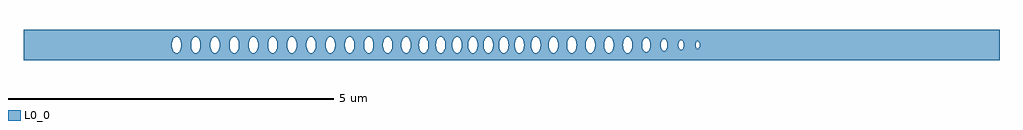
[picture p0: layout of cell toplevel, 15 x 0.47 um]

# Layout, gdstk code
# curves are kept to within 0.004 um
import gdstk
lib = gdstk.Library(unit=1e-6, precision=1e-09)
def P(c, l, *ps):  # polygons
    for p in ps: c.add(gdstk.Polygon(p, *l))
L0_0 = (0, 0)

toplevel = lib.new_cell('toplevel')
P(toplevel, L0_0, [(-4.629,0.016),(-4.616,0.075),(-4.596,0.108),(-4.579,0.121),(-4.579,0.234),(-7.5,0.234),(-7.5,-0.008),(-5.221,-0.008),(-5.216,0.047),(-5.198,0.093),(-5.175,0.119),(-5.148,0.128),(-5.114,0.112),(-5.09,0.075),(-5.078,0.032),(-5.077,-0.016),(-4.925,-0.016),(-4.922,0.039),(-4.909,0.081),(-4.888,0.112),(-4.853,0.128),(-4.826,0.119),(-4.803,0.093),(-4.785,0.047),(-4.78,0),(-4.785,-0.047),(-4.803,-0.093),(-4.826,-0.119),(-4.853,-0.128),(-4.879,-0.119),(-4.899,-0.098),(-4.914,-0.068),(-4.925,-0.016),(-5.077,-0.016),(-5.087,-0.068),(-5.102,-0.098),(-5.122,-0.119),(-5.148,-0.128),(-5.175,-0.119),(-5.195,-0.098),(-5.21,-0.068),(-5.221,-0.008),(-7.5,-0.008),(-7.5,-0.234),(-4.579,-0.234),(-4.579,-0.121),(-4.596,-0.108),(-4.616,-0.075),(-4.626,-0.039)],
  [(-1.017,-0.024),(-1.027,-0.068),(-1.05,-0.108),(-1.05,-0.234),(-0.402,-0.234),(-0.402,-0.098),(-0.417,-0.068),(-0.428,-0.016),(-0.425,0.039),(-0.402,0.098),(-0.402,0.234),(-1.05,0.234),(-1.05,0.108),(-1.027,0.068),(-1.016,-0.008),(-0.91,-0.008),(-0.905,0.047),(-0.887,0.093),(-0.864,0.119),(-0.837,0.128),(-0.811,0.119),(-0.788,0.093),(-0.768,0.039),(-0.765,-0.008),(-0.667,-0.008),(-0.662,0.047),(-0.637,0.103),(-0.608,0.125),(-0.594,0.128),(-0.568,0.119),(-0.548,0.098),(-0.533,0.068),(-0.524,0.032),(-0.522,-0.016),(-0.533,-0.068),(-0.545,-0.093),(-0.576,-0.123),(-0.608,-0.125),(-0.637,-0.103),(-0.658,-0.061),(-0.667,-0.008),(-0.765,-0.008),(-0.77,-0.047),(-0.788,-0.093),(-0.811,-0.119),(-0.837,-0.128),(-0.864,-0.119),(-0.887,-0.093),(-0.905,-0.047),(-0.91,-0.008),(-1.016,-0.008)],
  [(2.298,0.04),(2.314,0.076),(2.332,0.091),(2.348,0.094),(2.367,0.085),(2.385,0.06),(2.396,0.018),(2.396,-0.01),(2.565,-0.01),(2.566,0.019),(2.576,0.053),(2.589,0.07),(2.609,0.077),(2.625,0.07),(2.641,0.045),(2.648,-0.004),(2.829,-0.004),(2.839,0.044),(2.849,0.056),(2.865,0.06),(2.883,0.044),(2.893,0),(2.883,-0.044),(2.865,-0.06),(2.842,-0.049),(2.829,-0.004),(2.648,-0.004),(2.637,-0.053),(2.625,-0.07),(2.609,-0.077),(2.589,-0.07),(2.576,-0.053),(2.565,-0.01),(2.396,-0.01),(2.383,-0.064),(2.367,-0.085),(2.348,-0.094),(2.332,-0.091),(2.314,-0.076),(2.296,-0.035),(2.296,-0.234),(7.5,-0.234),(7.5,0.234),(2.296,0.234)],
  [(-4.487,-0.032),(-4.501,-0.081),(-4.522,-0.112),(-4.557,-0.128),(-4.579,-0.121),(-4.579,-0.234),(-4.235,-0.234),(-4.235,-0.119),(-4.261,-0.128),(-4.288,-0.119),(-4.3,-0.108),(-4.323,-0.068),(-4.334,-0.008),(-4.329,0.047),(-4.308,0.098),(-4.275,0.125),(-4.261,0.128),(-4.235,0.119),(-4.235,0.234),(-4.579,0.234),(-4.579,0.121),(-4.557,0.128),(-4.53,0.119),(-4.504,0.087),(-4.488,0.039)],
  [(-3.902,-0.061),(-3.916,-0.093),(-3.939,-0.119),(-3.966,-0.128),(-3.979,-0.125),(-4.001,-0.112),(-4.019,-0.087),(-4.038,-0.016),(-4.036,0.032),(-4.027,0.068),(-4.012,0.098),(-3.992,0.119),(-3.966,0.128),(-3.939,0.119),(-3.916,0.093),(-3.902,0.061),(-3.902,0.234),(-4.235,0.234),(-4.235,0.119),(-4.215,0.098),(-4.2,0.068),(-4.189,0.008),(-4.2,-0.068),(-4.215,-0.098),(-4.235,-0.119),(-4.235,-0.234),(-3.902,-0.234)],
  [(-3.902,0.234),(-3.902,0.06),(-3.894,-0.016),(-3.742,-0.016),(-3.74,0.032),(-3.729,0.075),(-3.705,0.112),(-3.67,0.128),(-3.643,0.119),(-3.624,0.098),(-3.609,0.068),(-3.598,0.016),(-3.601,-0.039),(-3.614,-0.081),(-3.643,-0.119),(-3.67,-0.128),(-3.697,-0.119),(-3.72,-0.093),(-3.734,-0.061),(-3.742,-0.016),(-3.894,-0.016),(-3.902,-0.061),(-3.902,-0.234),(-3.447,-0.234),(-3.447,0.234)],
  [(-3.446,0.024),(-3.436,0.068),(-3.421,0.098),(-3.401,0.119),(-3.374,0.128),(-3.348,0.119),(-3.325,0.093),(-3.307,0.047),(-3.302,-0.008),(-3.307,-0.047),(-3.325,-0.093),(-3.348,-0.119),(-3.374,-0.128),(-3.401,-0.119),(-3.421,-0.098),(-3.436,-0.068),(-3.447,-0.008),(-3.447,-0.234),(-3.125,-0.234),(-3.125,-0.098),(-3.14,-0.068),(-3.151,-0.016),(-3.148,0.039),(-3.125,0.098),(-3.125,0.234),(-3.447,0.234)],
  [(-3.01,-0.039),(-3.029,-0.093),(-3.052,-0.119),(-3.079,-0.128),(-3.092,-0.125),(-3.125,-0.098),(-3.125,-0.234),(-2.792,-0.234),(-2.792,-0.126),(-2.81,-0.119),(-2.833,-0.093),(-2.847,-0.061),(-2.855,-0.016),(-2.853,0.032),(-2.842,0.075),(-2.822,0.108),(-2.792,0.126),(-2.792,0.234),(-3.125,0.234),(-3.125,0.098),(-3.105,0.119),(-3.079,0.128),(-3.052,0.119),(-3.04,0.108),(-3.011,0.047),(-3.006,0.008)],
  [(-2.783,0.128),(-2.756,0.119),(-2.73,0.087),(-2.714,0.039),(-2.711,-0.016),(-2.724,-0.075),(-2.744,-0.108),(-2.77,-0.125),(-2.792,-0.126),(-2.792,-0.234),(-2.449,-0.234),(-2.449,-0.108),(-2.461,-0.119),(-2.487,-0.128),(-2.522,-0.112),(-2.549,-0.068),(-2.56,-0.008),(-2.549,0.068),(-2.526,0.108),(-2.514,0.119),(-2.487,0.128),(-2.461,0.119),(-2.449,0.108),(-2.449,0.234),(-2.792,0.234),(-2.792,0.126)],
  [(-1.976,0),(-1.975,0.234),(-2.449,0.234),(-2.449,0.108),(-2.42,0.047),(-2.416,-0.016),(-2.265,-0.016),(-2.263,0.032),(-2.252,0.075),(-2.228,0.112),(-2.193,0.128),(-2.166,0.119),(-2.143,0.093),(-2.127,0.054),(-2.121,0.016),(-2.123,-0.032),(-2.134,-0.075),(-2.158,-0.112),(-2.193,-0.128),(-2.22,-0.119),(-2.243,-0.093),(-2.265,-0.016),(-2.416,-0.016),(-2.426,-0.068),(-2.449,-0.108),(-2.449,-0.234),(-1.975,-0.234)],
  [(-1.972,0.039),(-1.962,0.075),(-1.942,0.108),(-1.917,0.125),(-1.89,0.125),(-1.864,0.108),(-1.847,0.081),(-1.834,0.039),(-1.831,-0.016),(-1.842,-0.068),(-1.857,-0.098),(-1.876,-0.119),(-1.903,-0.128),(-1.93,-0.119),(-1.953,-0.093),(-1.967,-0.061),(-1.975,-0.016),(-1.975,-0.234),(-1.68,-0.234),(-1.68,-0.075),(-1.694,-0.008),(-1.689,0.047),(-1.68,0.074),(-1.68,0.234),(-1.975,0.234)],
  [(-1.551,-0.032),(-1.568,-0.087),(-1.586,-0.112),(-1.608,-0.125),(-1.621,-0.128),(-1.648,-0.119),(-1.68,-0.075),(-1.68,-0.234),(-1.367,-0.234),(-1.367,-0.123),(-1.388,-0.108),(-1.408,-0.075),(-1.422,-0.008),(-1.411,0.068),(-1.396,0.098),(-1.367,0.123),(-1.367,0.234),(-1.68,0.234),(-1.68,0.075),(-1.66,0.108),(-1.635,0.125),(-1.608,0.125),(-1.586,0.112),(-1.565,0.081),(-1.552,0.039)],
  [(-1.359,0.126),(-1.331,0.123),(-1.303,0.098),(-1.282,0.047),(-1.277,-0.008),(-1.288,-0.068),(-1.303,-0.098),(-1.336,-0.125),(-1.367,-0.123),(-1.367,-0.234),(-1.05,-0.234),(-1.05,-0.108),(-1.062,-0.119),(-1.088,-0.128),(-1.123,-0.112),(-1.15,-0.068),(-1.161,-0.008),(-1.15,0.068),(-1.127,0.108),(-1.115,0.119),(-1.088,0.128),(-1.062,0.119),(-1.05,0.108),(-1.05,0.234),(-1.367,0.234),(-1.367,0.123)],
  [(-0.286,-0.032),(-0.297,-0.075),(-0.329,-0.119),(-0.356,-0.128),(-0.369,-0.125),(-0.402,-0.098),(-0.402,-0.234),(-0.128,-0.234),(-0.128,-0.126),(-0.145,-0.119),(-0.168,-0.093),(-0.186,-0.047),(-0.191,-0.008),(-0.189,0.032),(-0.177,0.075),(-0.157,0.108),(-0.128,0.126),(-0.128,0.234),(-0.402,0.234),(-0.402,0.098),(-0.382,0.119),(-0.356,0.128),(-0.329,0.119),(-0.317,0.108),(-0.29,0.054),(-0.283,0)],
  [(-0.119,0.128),(-0.092,0.119),(-0.069,0.093),(-0.051,0.047),(-0.046,-0.008),(-0.057,-0.068),(-0.072,-0.098),(-0.092,-0.119),(-0.128,-0.126),(-0.128,-0.234),(0.157,-0.234),(0.157,-0.112),(0.122,-0.128),(0.087,-0.112),(0.061,-0.068),(0.05,-0.008),(0.061,0.068),(0.087,0.112),(0.122,0.128),(0.157,0.112),(0.157,0.234),(-0.128,0.234),(-0.128,0.126)],
  [(0.191,-0.039),(0.181,-0.075),(0.157,-0.112),(0.157,-0.234),(0.573,-0.234),(0.573,0.234),(0.157,0.234),(0.157,0.112),(0.186,0.061),(0.195,-0.008),(0.303,-0.008),(0.308,0.047),(0.326,0.093),(0.349,0.119),(0.375,0.128),(0.402,0.119),(0.422,0.098),(0.437,0.068),(0.448,0.008),(0.443,-0.047),(0.425,-0.093),(0.402,-0.119),(0.375,-0.128),(0.349,-0.119),(0.329,-0.098),(0.314,-0.068),(0.303,-0.008),(0.195,-0.008)],
  [(0.576,0.039),(0.586,0.075),(0.606,0.108),(0.631,0.125),(0.658,0.125),(0.684,0.108),(0.701,0.081),(0.714,0.039),(0.717,-0.016),(0.706,-0.068),(0.691,-0.098),(0.672,-0.119),(0.645,-0.128),(0.618,-0.119),(0.595,-0.093),(0.581,-0.061),(0.573,-0.016),(0.573,-0.234),(0.877,-0.234),(0.877,-0.093),(0.859,-0.047),(0.854,-0.008),(0.859,0.047),(0.877,0.093),(0.877,0.234),(0.573,0.234)],
  [(0.998,-0.016),(0.985,-0.075),(0.953,-0.119),(0.926,-0.128),(0.913,-0.125),(0.892,-0.112),(0.877,-0.093),(0.877,-0.234),(1.203,-0.234),(1.203,-0.126),(1.185,-0.119),(1.162,-0.093),(1.144,-0.047),(1.139,0),(1.144,0.047),(1.162,0.093),(1.185,0.119),(1.203,0.126),(1.203,0.234),(0.877,0.234),(0.877,0.093),(0.9,0.119),(0.917,0.126),(0.94,0.125),(0.961,0.112),(0.988,0.068),(0.998,0.024)],
  [(1.212,0.128),(1.238,0.119),(1.265,0.087),(1.281,0.039),(1.284,-0.016),(1.273,-0.068),(1.251,-0.108),(1.225,-0.125),(1.203,-0.126),(1.203,-0.234),(1.528,-0.234),(1.528,-0.115),(1.497,-0.128),(1.462,-0.112),(1.441,-0.081),(1.425,-0.016),(1.43,0.047),(1.441,0.081),(1.458,0.108),(1.47,0.119),(1.497,0.128),(1.528,0.115),(1.528,0.234),(1.203,0.234),(1.203,0.126)],
  [(1.567,-0.032),(1.556,-0.075),(1.528,-0.115),(1.528,-0.234),(1.846,-0.234),(1.846,-0.068),(1.835,-0.093),(1.812,-0.119),(1.785,-0.128),(1.767,-0.123),(1.75,-0.112),(1.727,-0.075),(1.713,-0.008),(1.724,0.068),(1.739,0.098),(1.759,0.119),(1.785,0.128),(1.812,0.119),(1.835,0.093),(1.846,0.068),(1.846,0.234),(1.528,0.234),(1.528,0.115),(1.547,0.093),(1.563,0.054),(1.57,0)],
  [(1.854,-0.039),(1.846,-0.068),(1.846,-0.234),(2.296,-0.234),(2.296,0.234),(1.846,0.234),(1.846,0.068),(1.853,0.047),(1.857,-0.014),(2.009,-0.014),(2.013,0.041),(2.023,0.071),(2.048,0.103),(2.071,0.111),(2.094,0.103),(2.114,0.081),(2.133,0.014),(2.129,-0.041),(2.119,-0.071),(2.098,-0.1),(2.079,-0.11),(2.048,-0.103),(2.028,-0.081),(2.009,-0.014),(1.857,-0.014)])

lib.write_gds('toplevel.gds')
